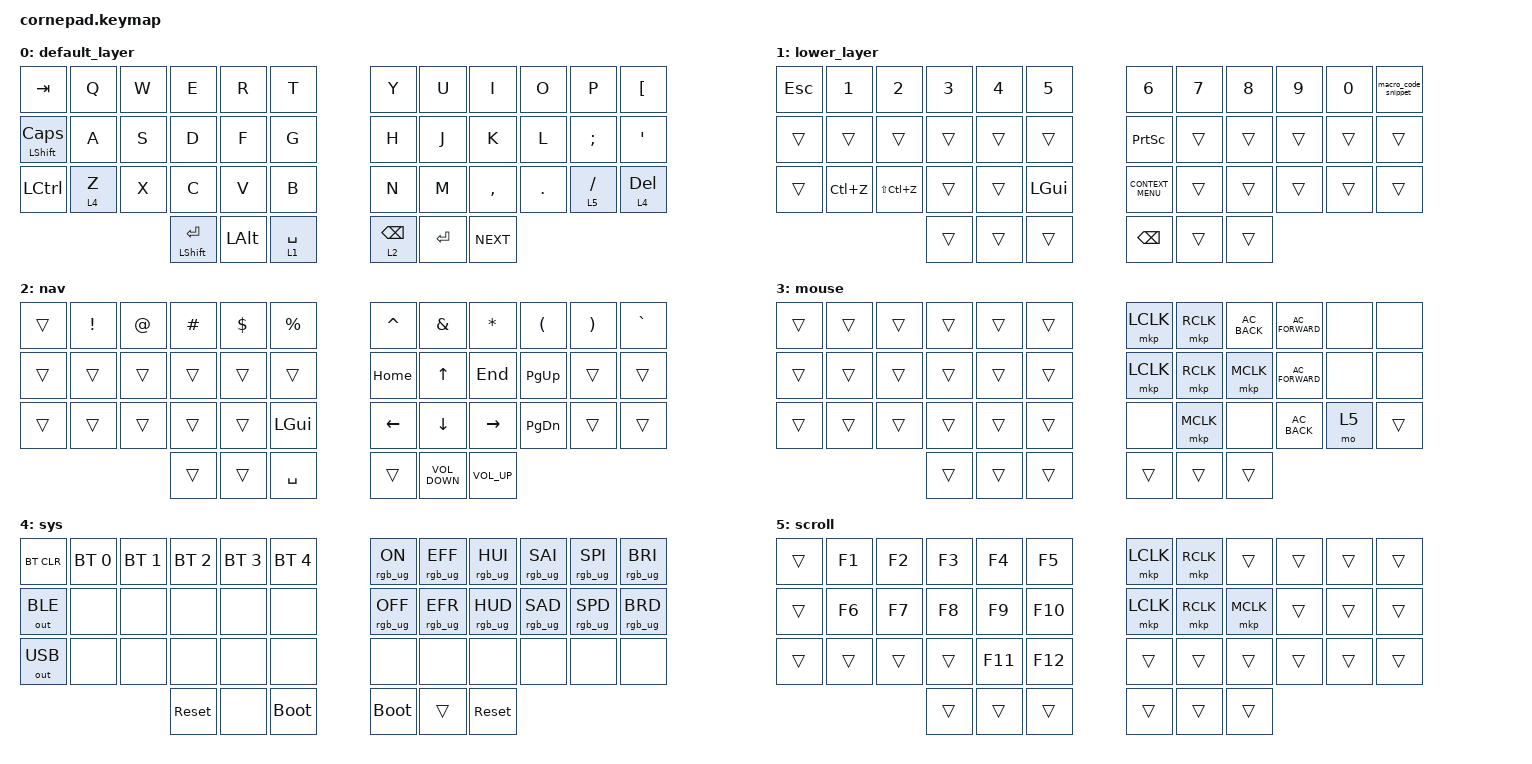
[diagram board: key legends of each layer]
#include <input/processors.dtsi>
#include <zmk-input-inertia/input/processor/input_inertia.dtsi>
#include <dt-bindings/zmk/input_transform.h>
#include <behaviors/input_processor_absolute_to_relative.dtsi>
#include <behaviors.dtsi>
#include <dt-bindings/zmk/bt.h>
#include <dt-bindings/zmk/keys.h>
#include <dt-bindings/zmk/outputs.h>
#include <dt-bindings/zmk/pointing.h>
#include <dt-bindings/zmk/rgb.h>

&glidepoint_listener {
    status = "okay";
    input-processors = <
        &zip_absolute_to_relative
        &zip_temp_layer 3 100
        &zip_inertia
    >;

    scroller {
        layers = <5>;
        input-processors = <
            &zip_absolute_to_relative
            &zip_xy_transform (INPUT_TRANSFORM_Y_INVERT)
            &zip_xy_scaler 1 16
            &zip_x_scaler 1 3
            &zip_y_scaler 1 2
            &zip_xy_to_scroll_mapper
            &zip_inertia
        >;
    };
};

&zip_inertia {
    trigger-ms = <35>;

    move-decay-factor-int = <96>;
    move-report-interval-ms = <20>;
    move-threshold-start = <8>;
    move-threshold-stop = <5>;

    scroll-decay-factor-int = <95>;
    scroll-report-interval-ms = <20>;
    scroll-threshold-start = <2>;
    scroll-threshold-stop = <0>;
};

/ {
    combos {
        compatible = "zmk,combos";

        play_pause {
            bindings = <&kp C_PLAY_PAUSE>;
            key-positions = <39 40>;
            layers = <0>;
        };

        play_prev {
            bindings = <&kp C_PREV>;
            key-positions = <39 41>;
            layers = <0>;
        };

        minus {
            bindings = <&kp MINUS>;
            key-positions = <23 35>;
            layers = <0>;
        };

        equal {
            bindings = <&kp EQUAL>;
            key-positions = <34 35>;
            layers = <0>;
        };

        bracket {
            bindings = <&kp RIGHT_BRACKET>;
            key-positions = <10 11>;
            layers = <0>;
        };

        backslash {
            bindings = <&kp BACKSLASH>;
            key-positions = <23 22>;
            layers = <0>;
        };

        dongle_boot {
            bindings = <&bootloader>;
            key-positions = <39 38>;
            layers = <4>;
        };
    };

    macros {
        macro_code_snippet: code_snippet {
            compatible = "zmk,behavior-macro";
            #binding-cells = <0>;
            bindings =
                <&kp GRAVE &kp GRAVE &kp GRAVE>,
                <&macro_press>,
                <&kp LSHFT>,
                <&macro_tap>,
                <&kp RET &kp RET>,
                <&macro_release>,
                <&kp LSHFT>,
                <&macro_tap>,
                <&kp GRAVE &kp GRAVE &kp GRAVE &kp UP_ARROW>;

            label = "CODE_SNIPPET";
        };
    };

    keymap {
        compatible = "zmk,keymap";

        default_layer {
            // -----------------------------------------------------------------------------------------
            // |  TAB |  Q  |  W  |  E  |  R  |  T  |   |  Y  |  U   |  I  |  O  |  P  | BSPC |
            // | CTRL |  A  |  S  |  D  |  F  |  G  |   |  H  |  J   |  K  |  L  |  ;  |  '   |
            // | SHFT |  Z  |  X  |  C  |  V  |  B  |   |  N  |  M   |  ,  |  .  |  /  | ESC  |
            //                    | GUI | LWR | SPC |   | ENT | RSE  | ALT |

            bindings = <
&kp TAB             &kp Q    &kp W  &kp E                 &kp R         &kp T          &kp Y            &kp U      &kp I       &kp O    &kp P       &kp LBKT
&mt LSHFT CAPSLOCK  &kp A    &kp S  &kp D                 &kp F         &kp G          &kp H            &kp J      &kp K       &kp L    &kp SEMI    &kp SQT
&kp LEFT_CONTROL    &lt 4 Z  &kp X  &kp C                 &kp V         &kp B          &kp N            &kp M      &kp COMMA   &kp DOT  &lt 5 FSLH  &lt 4 DELETE
                                    &mt LEFT_SHIFT ENTER  &kp LEFT_ALT  &lt 1 SPACE    &lt 2 BACKSPACE  &kp ENTER  &kp C_NEXT
            >;
        };

        lower_layer {
            // -----------------------------------------------------------------------------------------
            // |  TAB |  1  |  2  |  3  |  4  |  5  |   |  6  |  7  |  8  |  9  |  0  | BSPC |
            // | BTCLR| BT1 | BT2 | BT3 | BT4 | BT5 |   | LFT | DWN |  UP | RGT |     |      |
            // | SHFT |     |     |     |     |     |   |     |     |     |     |     |      |
            //                    | GUI |     | SPC |   | ENT |     | ALT |

            bindings = <
&kp ESC  &kp N1     &kp N2         &kp N3  &kp N4  &kp N5          &kp N6              &kp N7  &kp N8  &kp N9  &kp N0  &macro_code_snippet
&trans   &trans     &trans         &trans  &trans  &trans          &kp PRINTSCREEN     &trans  &trans  &trans  &trans  &trans
&trans   &kp LC(Z)  &kp LS(LC(Z))  &trans  &trans  &kp LEFT_GUI    &kp K_CONTEXT_MENU  &trans  &trans  &trans  &trans  &trans
                                   &trans  &trans  &trans          &kp BACKSPACE       &trans  &trans
            >;
        };

        nav_layer {
            // -----------------------------------------------------------------------------------------
            // |  TAB |  !  |  @  |  #  |  $  |  %  |   |  ^  |  &  |  *  |  (  |  )  | BSPC |
            // | CTRL |     |     |     |     |     |   |  -  |  =  |  [  |  ]  |  \  |  `   |
            // | SHFT |     |     |     |     |     |   |  _  |  +  |  {  |  }  | "|" |  ~   |
            //                    | GUI |     | SPC |   | ENT |     | ALT |

            bindings = <
&trans  &kp EXCL  &kp AT  &kp HASH  &kp DLLR  &kp PRCNT       &kp CARET  &kp AMPS           &kp ASTRK        &kp LPAR       &kp RPAR  &kp GRAVE
&trans  &trans    &trans  &trans    &trans    &trans          &kp HOME   &kp UP             &kp END          &kp PG_UP      &trans    &trans
&trans  &trans    &trans  &trans    &trans    &kp LEFT_GUI    &kp LEFT   &kp DOWN           &kp RIGHT        &kp PAGE_DOWN  &trans    &trans
                          &trans    &trans    &kp SPACE       &trans     &kp C_VOLUME_DOWN  &kp C_VOLUME_UP
            >;

            label = "nav";
        };

        mouse_layer {
            bindings = <
&trans  &trans  &trans  &trans  &trans  &trans    &mkp LCLK  &mkp RCLK  &kp C_AC_BACK  &kp C_AC_FORWARD  &none  &none
&trans  &trans  &trans  &trans  &trans  &trans    &mkp LCLK  &mkp RCLK  &mkp MCLK      &kp C_AC_FORWARD  &none  &none
&trans  &trans  &trans  &trans  &trans  &trans    &none      &mkp MCLK  &none          &kp C_AC_BACK     &mo 5  &trans
                        &trans  &trans  &trans    &trans     &trans     &trans
            >;

            label = "mouse";
        };

        sys_layer {
            bindings = <
&bt BT_CLR    &bt BT_SEL 0  &bt BT_SEL 1  &bt BT_SEL 2  &bt BT_SEL 3  &bt BT_SEL 4    &rgb_ug RGB_ON   &rgb_ug RGB_EFF  &rgb_ug RGB_HUI  &rgb_ug RGB_SAI  &rgb_ug RGB_SPI  &rgb_ug RGB_BRI
&out OUT_BLE  &none         &none         &none         &none         &none           &rgb_ug RGB_OFF  &rgb_ug RGB_EFR  &rgb_ug RGB_HUD  &rgb_ug RGB_SAD  &rgb_ug RGB_SPD  &rgb_ug RGB_BRD
&out OUT_USB  &none         &none         &none         &none         &none           &none            &none            &none            &none            &none            &none
                                          &sys_reset    &none         &bootloader     &bootloader      &trans           &sys_reset
            >;

            label = "sys";
        };

        scroll_layer {
            bindings = <
&trans  &kp F1  &kp F2  &kp F3  &kp F4   &kp F5     &mkp LCLK  &mkp RCLK  &trans     &trans  &trans  &trans
&trans  &kp F6  &kp F7  &kp F8  &kp F9   &kp F10    &mkp LCLK  &mkp RCLK  &mkp MCLK  &trans  &trans  &trans
&trans  &trans  &trans  &trans  &kp F11  &kp F12    &trans     &trans     &trans     &trans  &trans  &trans
                        &trans  &trans   &trans     &trans     &trans     &trans
            >;

            label = "scroll";
        };
    };
};
